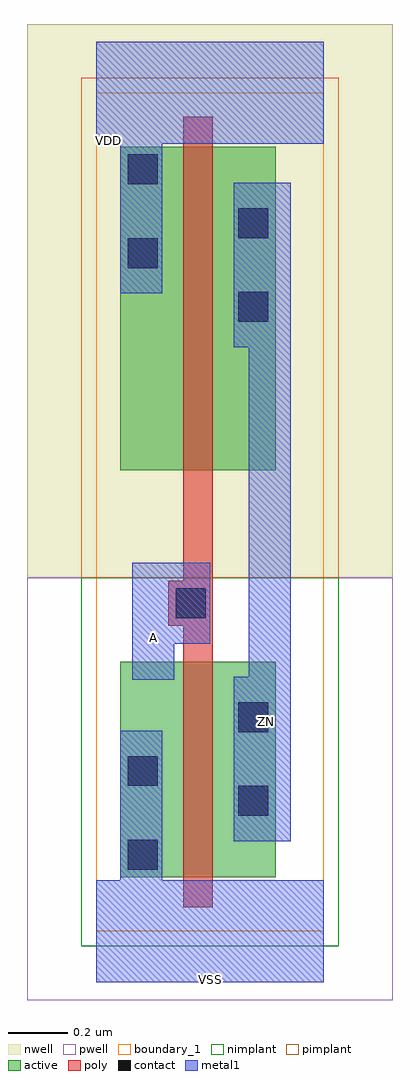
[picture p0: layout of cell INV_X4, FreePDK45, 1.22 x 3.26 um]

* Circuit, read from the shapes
.subckt INV_X4 A VDD VSS ZN
M1 ZN A VSS VSUBS nfet w=0.72u l=0.1u
M2 ZN A VDD n1 pfet w=1.08u l=0.1u
.ends

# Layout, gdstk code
import gdstk
lib = gdstk.Library(unit=1e-6, precision=1e-09)
def R(c, l, rs):  # rectangles x0, y0, x1, y1
    for r in rs: c.add(gdstk.rectangle(r[:2], r[2:], *l))
def P(c, l, *ps):  # polygons
    for p in ps: c.add(gdstk.Polygon(p, *l))
active = (1, 0)
pwell = (2, 0)
nwell = (3, 0)
nimplant = (4, 0)
pimplant = (5, 0)
poly = (9, 0)
contact = (10, 0)
metal1 = (11, 0)
boundary_1 = (235, 1)

inv_x4 = lib.new_cell('INV_X4')
R(inv_x4, active, [(0.08,0.18,0.6,0.9), (0.08,1.54,0.6,2.62)])
R(inv_x4, pwell, [(-0.23,-0.23,0.99,1.18)])
R(inv_x4, nwell, [(-0.23,1.18,0.99,3.03)])
R(inv_x4, nimplant, [(-0.05,-0.05,0.81,1.18)])
R(inv_x4, pimplant, [(-0.05,1.18,0.81,2.85)])
P(inv_x4, poly, [(0.24,1.02),(0.29,1.02),(0.29,0.08),(0.39,0.08),(0.39,2.72),(0.29,2.72),(0.29,1.17),(0.24,1.17)])
R(inv_x4, contact, [(0.105,0.205,0.205,0.305), (0.475,0.385,0.575,0.485), (0.105,0.485,0.205,0.585), (0.475,0.665,0.575,0.765), (0.265,1.045,0.365,1.145), (0.475,2.035,0.575,2.135), (0.105,2.215,0.205,2.315), (0.475,2.315,0.575,2.415), (0.105,2.495,0.205,2.595)])
P(inv_x4, metal1, [(0.46,1.95),(0.51,1.95),(0.51,0.85),(0.46,0.85),(0.46,0.3),(0.65,0.3),(0.65,2.5),(0.46,2.5)],
  [(0,-0.17),(0.76,-0.17),(0.76,0.17),(0.22,0.17),(0.22,0.67),(0.08,0.67),(0.08,0.17),(0,0.17)],
  [(0,2.63),(0.08,2.63),(0.08,2.13),(0.22,2.13),(0.22,2.63),(0.76,2.63),(0.76,2.97),(0,2.97)],
  [(0.12,0.84),(0.26,0.84),(0.26,0.96),(0.38,0.96),(0.38,1.23),(0.12,1.23)],
  [(0,2.63),(0.08,2.63),(0.08,2.13),(0.22,2.13),(0.22,2.63),(0.76,2.63),(0.76,2.97),(0,2.97)],
  [(0,-0.17),(0.76,-0.17),(0.76,0.17),(0.22,0.17),(0.22,0.67),(0.08,0.67),(0.08,0.17),(0,0.17)],
  [(0.46,1.95),(0.51,1.95),(0.51,0.85),(0.46,0.85),(0.46,0.3),(0.65,0.3),(0.65,2.5),(0.46,2.5)],
  [(0.12,0.84),(0.26,0.84),(0.26,0.96),(0.38,0.96),(0.38,1.23),(0.12,1.23)])
R(inv_x4, boundary_1, [(0,0,0.76,2.8)])
inv_x4.add(gdstk.Label('ZN', (0.57,0.7), layer=11, texttype=0))
inv_x4.add(gdstk.Label('VSS', (0.38,-0.16), layer=11, texttype=0))
inv_x4.add(gdstk.Label('VDD', (0.04,2.64), layer=11, texttype=0))
inv_x4.add(gdstk.Label('A', (0.19,0.98), layer=11, texttype=0))

lib.write_gds('INV_X4.gds')
